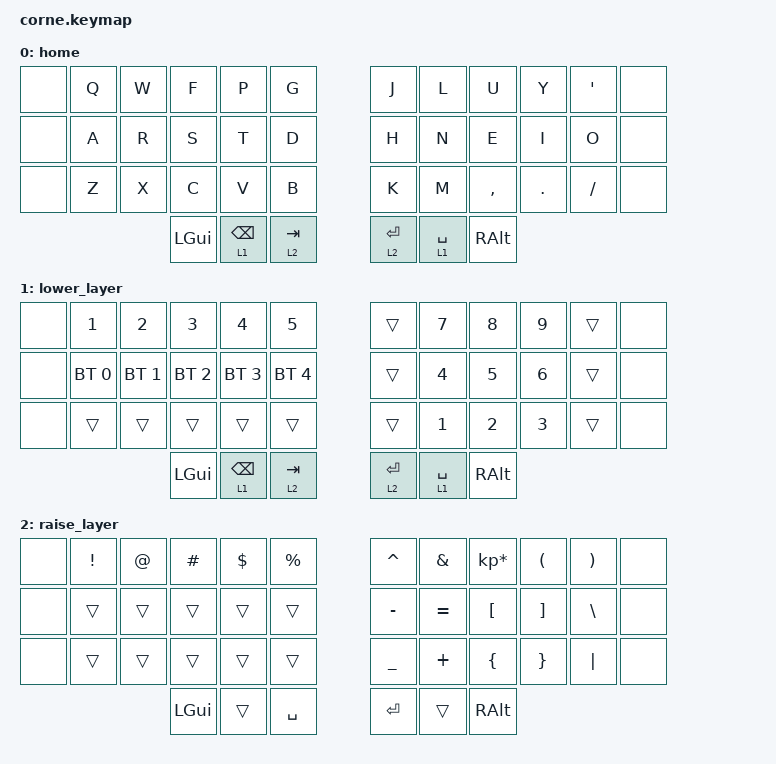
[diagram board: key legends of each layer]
/*
 * Copyright (c) 2020 The ZMK Contributors
 *
 * SPDX-License-Identifier: MIT
 */

#include <behaviors.dtsi>
#include <dt-bindings/zmk/bt.h>
#include <dt-bindings/zmk/keys.h>

/ {
    keymap {
        compatible = "zmk,keymap";

        home {
            // -----------------------------------------------------------------------------------------
            // |  TAB |  Q  |  W  |  E  |  R  |  T  |   |  Y  |  U   |  I  |  O  |  P  | BKSP |
            // | CTRL |  A  |  S  |  D  |  F  |  G  |   |  H  |  J   |  K  |  L  |  ;  |  '   |
            // | SHFT |  Z  |  X  |  C  |  V  |  B  |   |  N  |  M   |  ,  |  .  |  /  | ESC  |
            //                    | GUI | LWR | SPC |   | ENT | RSE  | ALT |

            bindings = <
&none  &kp Q  &kp W  &kp F     &kp P       &kp G        &kp J        &kp L        &kp U      &kp Y    &kp SQT   &none
&none  &kp A  &kp R  &kp S     &kp T       &kp D        &kp H        &kp N        &kp E      &kp I    &kp O     &none
&none  &kp Z  &kp X  &kp C     &kp V       &kp B        &kp K        &kp M        &kp COMMA  &kp DOT  &kp FSLH  &none
                     &kp LGUI  &lt 1 BSPC  &lt 2 TAB    &lt 2 ENTER  &lt 1 SPACE  &kp RALT
            >;
        };

        lower_layer {
            // -----------------------------------------------------------------------------------------
            // |  TAB |  1  |  2  |  3  |  4  |  5  |   |  6  |  7  |  8  |  9  |  0  | BKSP |
            // | BTCLR| BT1 | BT2 | BT3 | BT4 | BT5 |   | LFT | DWN |  UP | RGT |     |      |
            // | SHFT |     |     |     |     |     |   |     |     |     |     |     |      |
            //                    | GUI |     | SPC |   | ENT |     | ALT |

            bindings = <
&none  &kp N1        &kp N2        &kp N3        &kp N4        &kp N5          &trans       &kp N7        &kp N8        &kp N9        &trans  &none
&none  &bt BT_SEL 0  &bt BT_SEL 1  &bt BT_SEL 2  &bt BT_SEL 3  &bt BT_SEL 4    &trans       &kp NUMBER_4  &kp N5        &kp NUMBER_6  &trans  &none
&none  &trans        &trans        &trans        &trans        &trans          &trans       &kp NUMBER_1  &kp NUMBER_2  &kp NUMBER_3  &trans  &none
                                   &kp LGUI      &lt 1 BSPC    &lt 2 TAB       &lt 2 ENTER  &lt 1 SPACE   &kp RALT
            >;
        };

        raise_layer {
            // -----------------------------------------------------------------------------------------
            // |  TAB |  !  |  @  |  #  |  $  |  %  |   |  ^  |  &  |  *  |  (  |  )  | BKSP |
            // | CTRL |     |     |     |     |     |   |  -  |  =  |  [  |  ]  |  \  |  `   |
            // | SHFT |     |     |     |     |     |   |  _  |  +  |  {  |  }  | "|" |  ~   |
            //                    | GUI |     | SPC |   | ENT |     | ALT |

            bindings = <
&none  &kp EXCL  &kp AT  &kp HASH  &kp DLLR  &kp PRCNT    &kp CARET  &kp AMPS   &kp KP_MULTIPLY  &kp LPAR  &kp RPAR  &none
&none  &trans    &trans  &trans    &trans    &trans       &kp MINUS  &kp EQUAL  &kp LBKT         &kp RBKT  &kp BSLH  &none
&none  &trans    &trans  &trans    &trans    &trans       &kp UNDER  &kp PLUS   &kp LBRC         &kp RBRC  &kp PIPE  &none
                         &kp LGUI  &trans    &kp SPACE    &kp RET    &trans     &kp RALT
            >;
        };
    };
};
